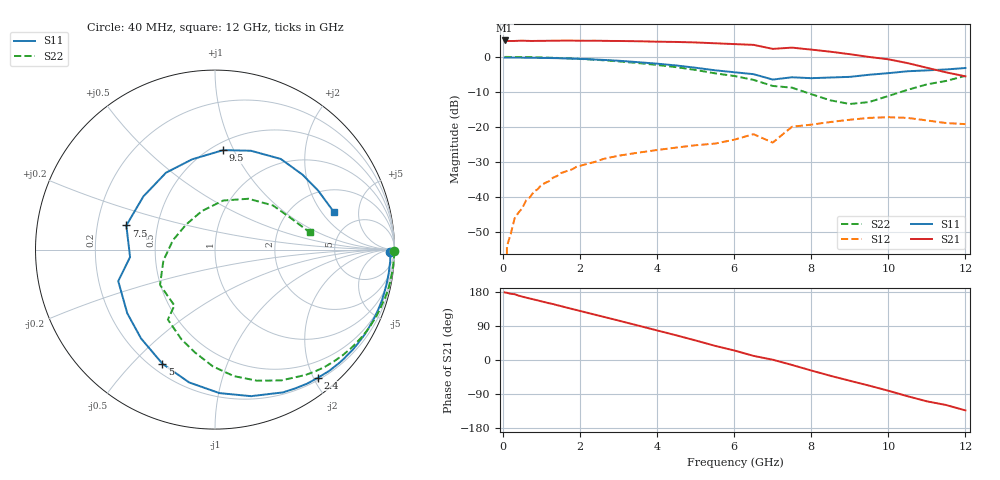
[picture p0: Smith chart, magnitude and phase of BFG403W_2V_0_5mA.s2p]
! BFG403W
! V1=8.273E-001V,V2=2.000E+000V, I1=6.688E-006A, I2=5.000E-004A
# GHz  S  MA  R 50
!  S11  S21  S12  S22
!Freq(GHz)  Mag  Ang  Mag  Ang  Mag  Ang  Mag  Ang
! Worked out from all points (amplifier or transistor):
!   44 points, 40 MHz to 12 GHz, reference 50 ohm
!   highest |S21| = 4.7 dB at 40 MHz (marker M1)
!   |S21| within 3 dB of that: start of sweep to 8.325 GHz
!   S11 on the Smith chart (normalised r, x): 40 MHz: 63, -35; 2.4 GHz: 0.23, -2.07; 5 GHz: 0.25, -0.61; 7.5 GHz: 0.33, +0.12; 9.5 GHz: 0.57, +0.91; 12 GHz: 3.25, +2.65
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0.04  0.976 -0.8  1.715 178.4  0 45.2  0.998 -0.6
0.1  0.978 -2.1  1.688 177.3  0.002 93.5  0.999 -1.8
0.3  0.977 -6.2  1.687 173.6  0.005 86.3  0.997 -5.4
0.6  0.974 -12.6  1.695 164.6  0.009 80.0  0.992 -10.9
1  0.968 -21.0  1.694 154.7  0.015 73.8  0.98 -18.2
1.5  0.955 -31.6  1.706 142.3  0.022 66.1  0.962 -27.1
2.2  0.928 -46.7  1.698 124.3  0.03 55.8  0.923 -39.7
2.4  0.916 -51.2  1.699 119.2  0.032 53.0  0.909 -43.3
3  0.881 -64.6  1.686 104.0  0.039 45.2  0.862 -54.1
3.5  0.841 -76.2  1.671 91.0  0.043 39.4  0.817 -63.1
4.5  0.754 -101.0  1.633 65.0  0.051 30.0  0.713 -81.5
5  0.7 -114.8  1.606 51.5  0.055 24.0  0.651 -91.0
5.5  0.644 -129.8  1.564 37.4  0.058 17.0  0.583 -101.2
6.5  0.567 -162.0  1.484 10.9  0.079 11.0  0.47 -124.0
7  0.475 -175.0  1.301 0.7  0.06 27.5  0.385 -126.0
7.5  0.512 164.8  1.355 -13.1  0.101 9.4  0.364 -147.3
8.5  0.508 122.5  1.185 -41.8  0.118 -15.9  0.24 167.4
9.5  0.556 85.3  0.998 -67.6  0.135 -38.1  0.227 108.7
10  0.586 70.0  0.924 -81.1  0.138 -51.1  0.277 80.6
10.5  0.624 54.0  0.815 -95.6  0.135 -66.9  0.339 56.7
11  0.642 40.6  0.7 -109.0  0.124 -82.2  0.406 37.3
12  0.694 17.7  0.528 -132.9  0.11 -107.8  0.536 10.4
